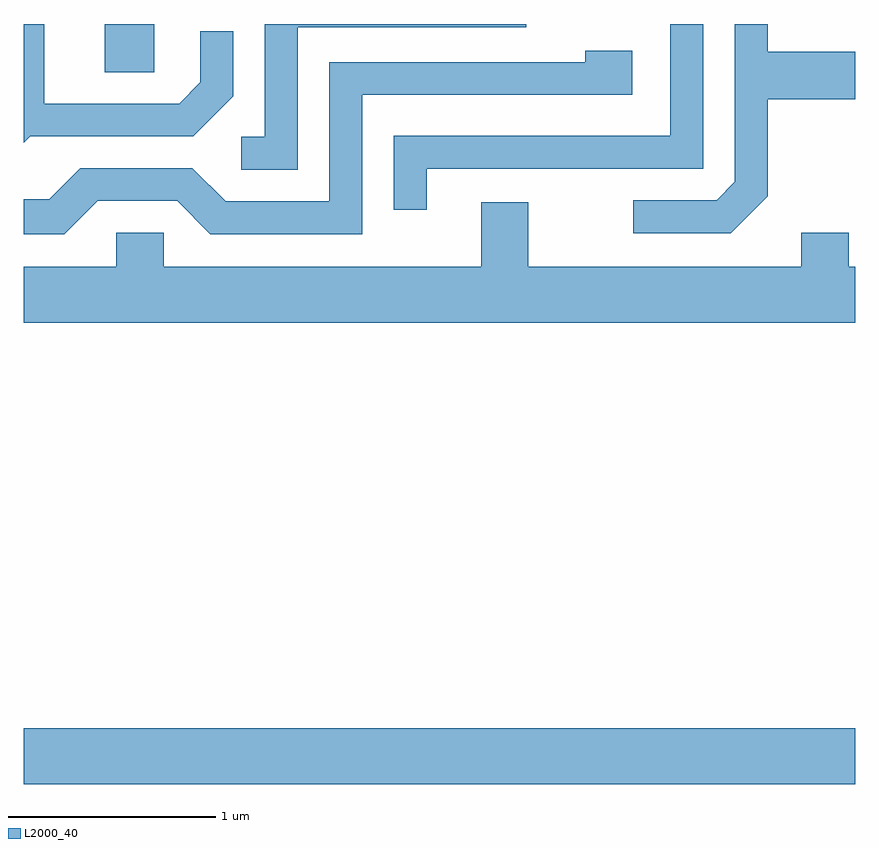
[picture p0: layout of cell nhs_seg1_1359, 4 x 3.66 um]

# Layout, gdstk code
import gdstk
lib = gdstk.Library(unit=1e-6, precision=1e-09)
def R(c, l, rs):  # rectangles x0, y0, x1, y1
    for r in rs: c.add(gdstk.rectangle(r[:2], r[2:], *l))
def P(c, l, *ps):  # polygons
    for p in ps: c.add(gdstk.Polygon(p, *l))
L2000_40 = (2000, 40)

nhs_seg1_1359 = lib.new_cell('nhs_seg1_1359')
R(nhs_seg1_1359, L2000_40, [(227.611,864.056,231.611,864.324), (228.001,867.481,228.239,867.712)])
P(nhs_seg1_1359, L2000_40, [(229.549,867.016),(230.879,867.016),(230.879,867.712),(230.721,867.712),(230.721,867.174),(229.391,867.174),(229.391,866.818),(229.549,866.818)],
  [(231.189,866.884),(231.189,867.351),(231.611,867.351),(231.611,867.579),(231.189,867.579),(231.189,867.712),(231.031,867.712),(231.031,866.952),(230.944,866.864),(230.543,866.864),(230.543,866.706),(231.012,866.706)],
  [(227.642,867.171),(228.427,867.171),(228.619,867.364),(228.619,867.678),(228.461,867.678),(228.461,867.432),(228.359,867.329),(227.709,867.329),(227.709,867.712),(227.611,867.712),(227.611,867.14)],
  [(228.929,867.696),(230.028,867.696),(230.028,867.712),(228.771,867.712),(228.771,867.169),(228.658,867.169),(228.658,867.011),(228.929,867.011)],
  [(227.967,866.861),(228.349,866.861),(228.509,866.701),(229.239,866.701),(229.239,867.371),(230.539,867.371),(230.539,867.584),(230.311,867.584),(230.311,867.529),(229.081,867.529),(229.081,866.859),(228.582,866.859),(228.422,867.019),(227.884,867.019),(227.734,866.869),(227.611,866.869),(227.611,866.701),(227.807,866.701)],
  [(231.611,866.544),(231.579,866.544),(231.579,866.709),(231.351,866.709),(231.351,866.544),(230.039,866.544),(230.039,866.854),(229.811,866.854),(229.811,866.544),(228.284,866.544),(228.284,866.709),(228.056,866.709),(228.056,866.544),(227.611,866.544),(227.611,866.276),(231.611,866.276)])

lib.write_gds('nhs_seg1_1359.gds')
